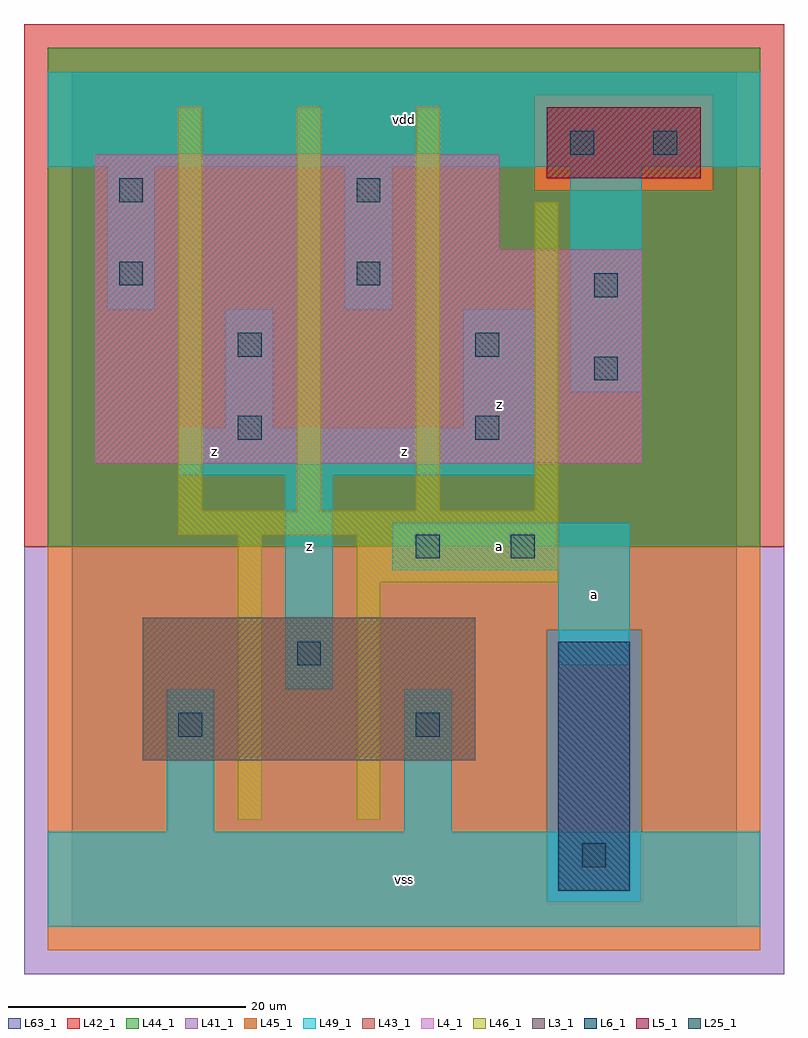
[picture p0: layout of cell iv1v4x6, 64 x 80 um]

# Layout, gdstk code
import gdstk
lib = gdstk.Library(unit=1e-6, precision=1e-09)
def R(c, l, rs):  # rectangles x0, y0, x1, y1
    for r in rs: c.add(gdstk.rectangle(r[:2], r[2:], *l))
def A(c, l, x, y, w, h, nx, ny, dx, dy):  # array of equal rectangles
    R(c, l, [(x+i*dx, y+j*dy, x+i*dx+w, y+j*dy+h) for i in range(nx) for j in range(ny)])
L3_1 = (3, 1)
L4_1 = (4, 1)
L5_1 = (5, 1)
L6_1 = (6, 1)
L25_1 = (25, 1)
L41_1 = (41, 1)
L42_1 = (42, 1)
L43_1 = (43, 1)
L44_1 = (44, 1)
L45_1 = (45, 1)
L46_1 = (46, 1)
L49_1 = (49, 1)
L63_1 = (63, 1)

iv1v4x6 = lib.new_cell('iv1v4x6')
R(iv1v4x6, L3_1, [(6,14,34,26)])
R(iv1v4x6, L4_1, [(2,39,48,57), (2,57,36,65)])
R(iv1v4x6, L5_1, [(40,63,53,69)])
R(iv1v4x6, L6_1, [(41,3,47,24), (41,3,47,24)])
R(iv1v4x6, L25_1, [(43,5,45,7), (9,16,11,18), (29,16,31,18), (19,22,21,24), (29,31,31,33), (37,31,39,33), (14,41,16,43), (34,41,36,43), (44,46,46,48), (14,48,16,50), (34,48,36,50), (44,53,46,55), (4,54,6,56), (24,54,26,56), (4,61,6,63), (24,61,26,63), (42,65,44,67), (49,65,51,67)])
R(iv1v4x6, L41_1, [(-4,-4,60,32)])
R(iv1v4x6, L42_1, [(-4,32,60,76)])
R(iv1v4x6, L43_1, [(41,3,47,24), (6,14,34,26), (2,39,48,57), (2,57,36,65), (40,63,53,69)])
R(iv1v4x6, L44_1, [(40,2,48,25), (-2,32,58,62), (-2,62,39,70), (54,62,58,70), (-2,70,58,74)])
R(iv1v4x6, L45_1, [(-2,-2,58,2), (-2,2,40,25), (48,2,58,25), (-2,25,58,32), (39,62,54,70)])
A(iv1v4x6, L46_1, 9, 35, 2, 34, 3, 1, 10, 0)
R(iv1v4x6, L46_1, [(14,9,16,33), (24,9,26,29), (24,29,41,33), (9,33,41,35), (39,35,41,61)])
R(iv1v4x6, L49_1, [(-2,0,58,8), (8,8,12,20), (28,8,32,20), (18,20,22,38), (41,22,47,30), (27,30,47,34), (9,38,39,42), (13,42,17,52), (33,42,39,52), (42,45,48,64), (3,52,7,64), (23,52,27,64), (-2,64,58,72)])
R(iv1v4x6, L63_1, [(0,0,56,72)])
iv1v4x6.add(gdstk.Label('z', (20,32), layer=49, texttype=1))
iv1v4x6.add(gdstk.Label('z', (12,40), layer=49, texttype=1))
iv1v4x6.add(gdstk.Label('vss', (28,4), layer=49, texttype=1))
iv1v4x6.add(gdstk.Label('a', (36,32), layer=49, texttype=1))
iv1v4x6.add(gdstk.Label('z', (28,40), layer=49, texttype=1))
iv1v4x6.add(gdstk.Label('z', (36,44), layer=49, texttype=1))
iv1v4x6.add(gdstk.Label('vdd', (28,68), layer=49, texttype=1))
iv1v4x6.add(gdstk.Label('a', (44,28), layer=49, texttype=1))

lib.write_gds('iv1v4x6.gds')
